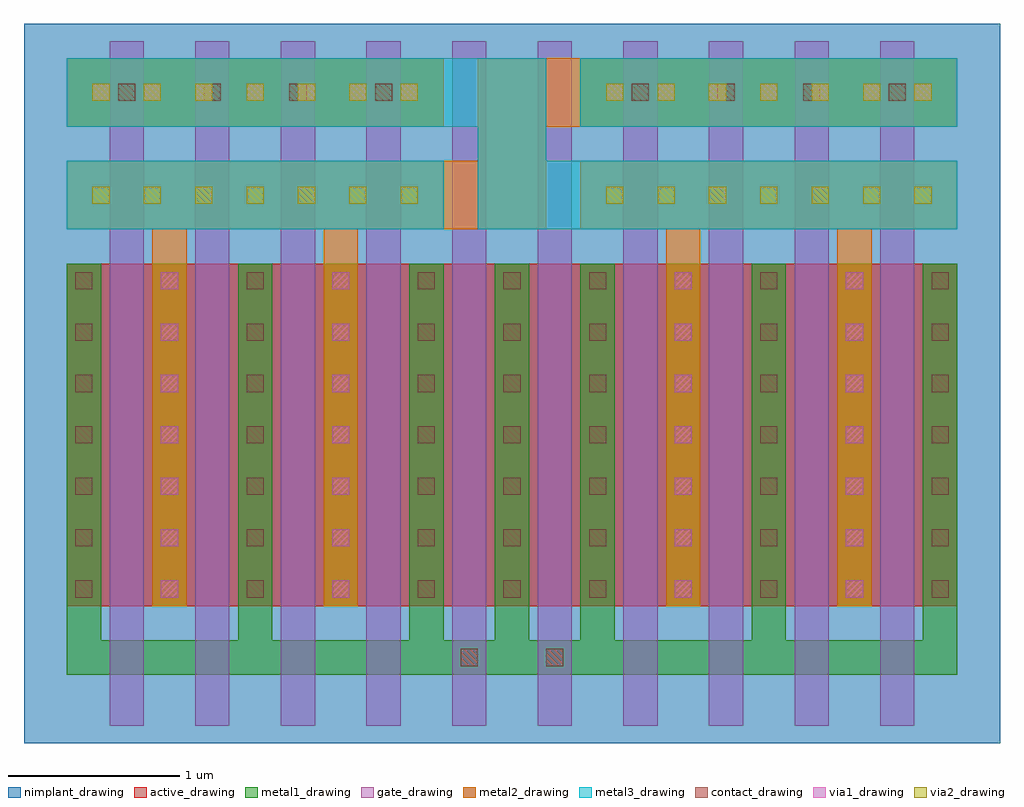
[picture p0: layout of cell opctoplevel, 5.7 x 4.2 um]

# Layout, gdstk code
import gdstk
lib = gdstk.Library(unit=1e-6, precision=1e-09)
def R(c, l, rs):  # rectangles x0, y0, x1, y1
    for r in rs: c.add(gdstk.rectangle(r[:2], r[2:], *l))
def A(c, l, x, y, w, h, nx, ny, dx, dy):  # array of equal rectangles
    R(c, l, [(x+i*dx, y+j*dy, x+i*dx+w, y+j*dy+h) for i in range(nx) for j in range(ny)])
def P(c, l, *ps):  # polygons
    for p in ps: c.add(gdstk.Polygon(p, *l))
active_drawing = (1, 0)
nimplant_drawing = (5, 0)
gate_drawing = (6, 0)
contact_drawing = (7, 0)
metal1_drawing = (8, 0)
via1_drawing = (9, 0)
metal2_drawing = (10, 0)
via2_drawing = (11, 0)
metal3_drawing = (12, 0)

opctoplevel = lib.new_cell('opctoplevel')
R(opctoplevel, active_drawing, [(-2.75,0,-0.55,2), (-0.75,0,-0.05,2), (-0.25,0,0.45,2), (0.25,0,2.45,2)])
R(opctoplevel, nimplant_drawing, [(-3,-0.8,-0.3,3.4), (-1,-0.8,0.2,3.4), (-0.5,-0.8,0.7,3.4), (0,-0.8,2.7,3.4)])
A(opctoplevel, gate_drawing, -2.5, -0.7, 0.2, 4, 10, 1, 0.5, 0)
A(opctoplevel, contact_drawing, -2.7, 0.05, 0.1, 0.1, 5, 7, 0.5, 0.3)
A(opctoplevel, contact_drawing, -0.7, 0.05, 0.1, 0.1, 1, 7, 0, 0.3)
A(opctoplevel, contact_drawing, 0.3, 0.05, 0.1, 0.1, 1, 7, 0, 0.3)
A(opctoplevel, contact_drawing, 0.3, 0.05, 0.1, 0.1, 5, 7, 0.5, 0.3)
A(opctoplevel, contact_drawing, -2.45, 2.95, 0.1, 0.1, 4, 1, 0.5, 0)
A(opctoplevel, contact_drawing, 0.55, 2.95, 0.1, 0.1, 4, 1, 0.5, 0)
R(opctoplevel, contact_drawing, [(-0.45,-0.35,-0.35,-0.25), (0.05,-0.35,0.15,-0.25), (-0.2,0.05,-0.1,0.15), (-0.2,0.05,-0.1,0.15), (-0.2,0.35,-0.1,0.45), (-0.2,0.35,-0.1,0.45), (-0.2,0.65,-0.1,0.75), (-0.2,0.65,-0.1,0.75), (-0.2,0.95,-0.1,1.05), (-0.2,0.95,-0.1,1.05), (-0.2,1.25,-0.1,1.35), (-0.2,1.25,-0.1,1.35), (-0.2,1.55,-0.1,1.65), (-0.2,1.55,-0.1,1.65), (-0.2,1.85,-0.1,1.95), (-0.2,1.85,-0.1,1.95)])
A(opctoplevel, metal1_drawing, -2.75, -0.2, 0.2, 0.2, 3, 1, 1, 0)
A(opctoplevel, metal1_drawing, 0.25, -0.2, 0.2, 0.2, 3, 1, 1, 0)
A(opctoplevel, metal1_drawing, -2.75, 0, 0.2, 2, 5, 1, 0.5, 0)
A(opctoplevel, metal1_drawing, 0.25, 0, 0.2, 2, 5, 1, 0.5, 0)
R(opctoplevel, metal1_drawing, [(-2.75,-0.4,-0.55,-0.2), (-0.75,-0.4,-0.05,-0.2), (-0.75,-0.4,-0.05,-0.2), (-0.5,-0.4,-0.3,-0.2), (-0.25,-0.4,0.45,-0.2), (-0.25,-0.4,0.45,-0.2), (0,-0.4,0.2,-0.2), (0.25,-0.4,2.45,-0.2), (-0.75,-0.2,-0.55,0), (-0.25,-0.2,-0.05,0), (-0.25,-0.2,-0.05,0), (0.25,-0.2,0.45,0), (-0.75,0,-0.55,2), (-0.25,0,-0.05,2), (-0.25,0,-0.05,2), (0.25,0,0.45,2), (-2.75,2.8,-0.55,3.2), (-2.75,2.8,-0.55,3.2), (0.25,2.8,2.45,3.2), (0.25,2.8,2.45,3.2)])
A(opctoplevel, via1_drawing, -2.2, 0.05, 0.1, 0.1, 1, 7, 0, 0.3)
A(opctoplevel, via1_drawing, -1.2, 0.05, 0.1, 0.1, 1, 7, 0, 0.3)
A(opctoplevel, via1_drawing, 0.8, 0.05, 0.1, 0.1, 1, 7, 0, 0.3)
A(opctoplevel, via1_drawing, 1.8, 0.05, 0.1, 0.1, 1, 7, 0, 0.3)
A(opctoplevel, via1_drawing, -2.6, 2.95, 0.1, 0.1, 7, 1, 0.3, 0)
A(opctoplevel, via1_drawing, 0.4, 2.95, 0.1, 0.1, 7, 1, 0.3, 0)
R(opctoplevel, metal2_drawing, [(-2.25,0,-2.05,2), (-1.25,0,-1.05,2), (0.75,0,0.95,2), (1.75,0,1.95,2), (-2.25,2,-2.05,2.2), (-1.25,2,-1.05,2.2), (0.75,2,0.95,2.2), (1.75,2,1.95,2.2), (-2.75,2.2,-0.55,2.6), (0.25,2.2,2.45,2.6), (-2.75,2.8,-0.55,3.2), (0.25,2.8,2.45,3.2)])
P(opctoplevel, metal2_drawing, [(0.25,3.2),(-0.35,3.2),(-0.35,2.6),(-0.55,2.6),(-0.55,2.2),(0.05,2.2),(0.05,2.8),(0.25,2.8)])
A(opctoplevel, via2_drawing, -2.6, 2.95, 0.1, 0.1, 7, 1, 0.3, 0)
A(opctoplevel, via2_drawing, 0.4, 2.95, 0.1, 0.1, 7, 1, 0.3, 0)
R(opctoplevel, via2_drawing, [(-2.6,2.35,-2.5,2.45), (-2.6,2.35,-2.5,2.45), (-2.3,2.35,-2.2,2.45), (-2.3,2.35,-2.2,2.45), (-2,2.35,-1.9,2.45), (-2,2.35,-1.9,2.45), (-1.7,2.35,-1.6,2.45), (-1.7,2.35,-1.6,2.45), (-1.4,2.35,-1.3,2.45), (-1.4,2.35,-1.3,2.45), (-1.1,2.35,-1,2.45), (-1.1,2.35,-1,2.45), (-0.8,2.35,-0.7,2.45), (-0.8,2.35,-0.7,2.45), (0.4,2.35,0.5,2.45), (0.4,2.35,0.5,2.45), (0.7,2.35,0.8,2.45), (0.7,2.35,0.8,2.45), (1,2.35,1.1,2.45), (1,2.35,1.1,2.45), (1.3,2.35,1.4,2.45), (1.3,2.35,1.4,2.45), (1.6,2.35,1.7,2.45), (1.6,2.35,1.7,2.45), (1.9,2.35,2,2.45), (1.9,2.35,2,2.45), (2.2,2.35,2.3,2.45), (2.2,2.35,2.3,2.45)])
R(opctoplevel, metal3_drawing, [(-2.75,2.2,-0.55,2.6), (0.25,2.2,2.45,2.6), (-2.75,2.8,-0.55,3.2), (0.25,2.8,2.45,3.2)])
P(opctoplevel, metal3_drawing, [(-0.55,2.8),(-0.35,2.8),(-0.35,2.2),(0.25,2.2),(0.25,2.6),(0.05,2.6),(0.05,3.2),(-0.55,3.2)])

lib.write_gds('opctoplevel.gds')
